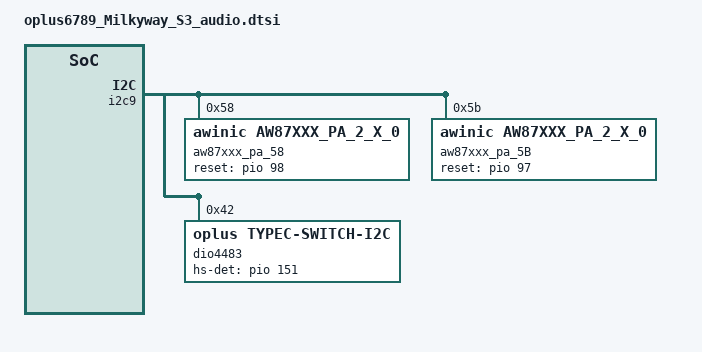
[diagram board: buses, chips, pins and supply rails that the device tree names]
/* Copyright (c) 2018, The Linux Foundation. All rights reserved.
 *
 * This program is free software; you can redistribute it and/or modify
 * it under the terms of the GNU General Public License version 2 and
 * only version 2 as published by the Free Software Foundation.
 *
 * This program is distributed in the hope that it will be useful,
 * but WITHOUT ANY WARRANTY; without even the implied warranty of
 * MERCHANTABILITY or FITNESS FOR A PARTICULAR PURPOSE.  See the
 * GNU General Public License for more details.
 */
&pio {
	typec_switch_hs_det: typec_switchs_hs_det {
		pins_cmd_dat {
			pinmux = <PINMUX_GPIO151__FUNC_GPIO151>;
			slew-rate = <1>;  /*direction 0:in, 1:out*/
			output-low;
		};
	};
};

&i2c9 {
	aw87xxx_pa_58@58 {
		compatible = "awinic,aw87xxx_pa_2_x_0";
		reset-gpio = <&pio 98 0>;
		reg = <0x58>;
		dev_index = < 1 >;
		status = "okay";
	};

	aw87xxx_pa_5B@5B {
		compatible = "awinic,aw87xxx_pa_2_x_0";
		reset-gpio = <&pio 97 0>;
		reg = <0x5B>;
		dev_index = < 0 >;
		status = "okay";
	};

	dio4483: dio4483@42 {
		 compatible = "oplus,typec-switch-i2c";
		 reg = <0x42>;
		 pinctrl-names = "default";
		 pinctrl-0 = <&typec_switch_hs_det>;
		 oplus,hs-det-gpio = <&pio 151 0>;
		 oplus,hs-det-level = <1>;
		 // add for supporting type-c headphone detect bypass
		 oplus,hp-bypass = <1>;
		 status = "okay";
	 };
};

&sound {
	/* this dtsi config for product's special config, AudioHal read ctl 'OPLUS_AUDIO_EXTEN_CONFIG' get the values*
	 * 1st value --> PA type: 0:NXP Pa, 1:Awinic Pa 2:sia81xx Pa*/
	audio_extern_config = <1>;
	oplus,special-pa-dapm = <1>;
};
// add for supporting type-c headphone detect bypass
&accdet {
	headset-eint0-disable = <1>;
	pull-high-impedance = <1>;
};

&mt6358codec {
	pull-high-impedance = <1>;
};
